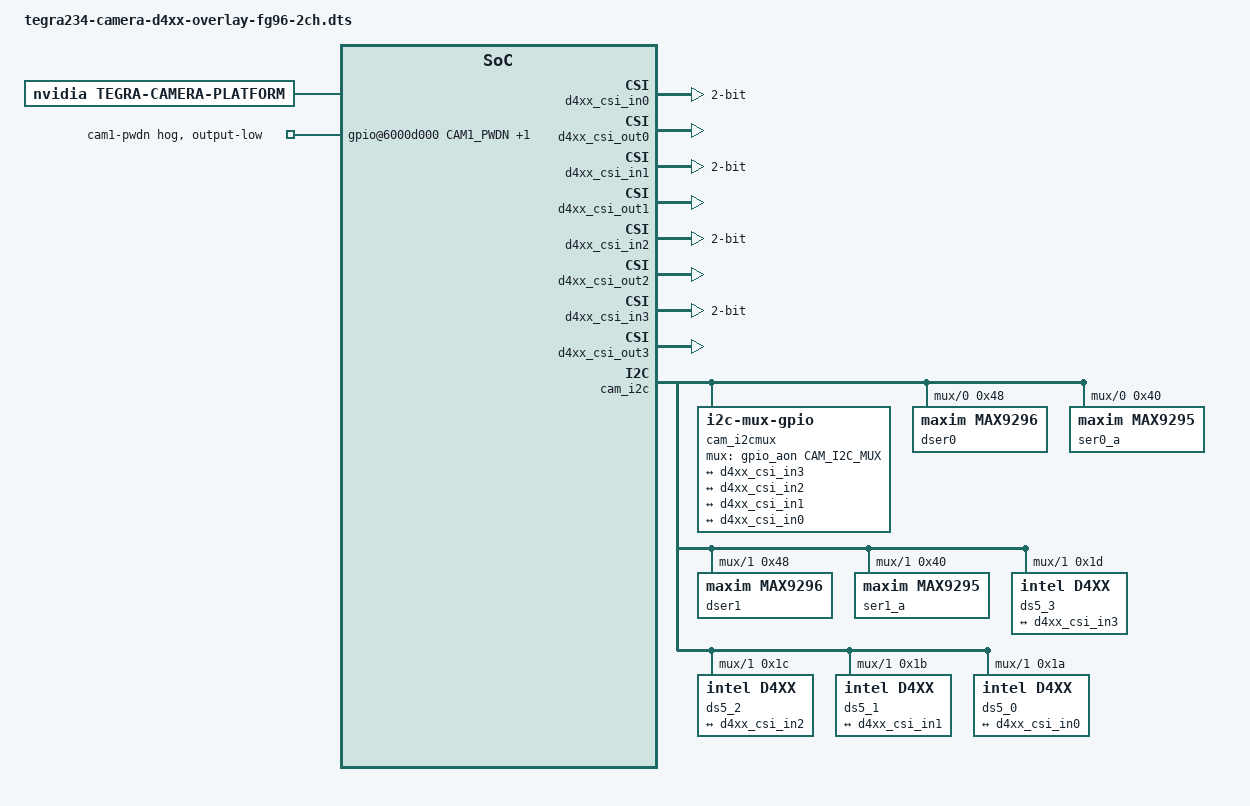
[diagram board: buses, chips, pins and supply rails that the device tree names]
// SPDX-License-Identifier: GPL-2.0-only
// SPDX-FileCopyrightText: Copyright (c) 2026, REALSENSEAI.  All rights reserved.

// URL: https://fg96-2ch-doc.readthedocs.io/

/dts-v1/;
/plugin/;

#include <dt-bindings/clock/tegra234-clock.h>
#include <dt-bindings/gpio/tegra234-gpio.h>
#include <dt-bindings/tegra234-p3767-0000-common.h>

#define CAM0_PWDN   TEGRA234_MAIN_GPIO(H, 6)
#define CAM1_PWDN   TEGRA234_MAIN_GPIO(AC, 0)
#define CAM_I2C_MUX TEGRA234_AON_GPIO(CC, 3)

// ds5 addr 0xn[abcd]

/* camera control gpio definitions */
/ {
	overlay-name = "Jetson RealSense Camera FG96-2CH SINGLE";
	jetson-header-name = "Jetson 22pin CSI Connector";
	compatible = JETSON_COMPATIBLE_P3768;

	fragment@0 {
		target-path = "/";
		__overlay__ {
			tegra-capture-vi {
				num-channels = <4>;
				ports {
					#address-cells = <1>;
					#size-cells = <0>;
					status = "okay";
					port@0 {
						status = "okay";
						reg = <0>;
						d4xx_vi_in0: endpoint {
							status = "okay";
							vc-id = <0>;
							port-index = <2>;
							bus-width = <2>;
							remote-endpoint = <&d4xx_csi_out0>;
						};
					};
					port@1 {
						status = "okay";
						reg = <1>;
						d4xx_vi_in1: endpoint {
							status = "okay";
							vc-id = <1>;
							port-index = <2>;
							bus-width = <2>;
							remote-endpoint = <&d4xx_csi_out1>;
						};
					};
					port@2 {
						status = "okay";
						reg = <2>;
						d4xx_vi_in2: endpoint {
							status = "okay";
							vc-id = <2>;
							port-index = <2>;
							bus-width = <2>;
							remote-endpoint = <&d4xx_csi_out2>;
						};
					};
					port@3 {
						status = "okay";
						reg = <3>;
						d4xx_vi_in3: endpoint {
							status = "okay";
							vc-id = <3>;
							port-index = <2>;
							bus-width = <2>;
							remote-endpoint = <&d4xx_csi_out3>;
						};
					};
				};
			};

			tegra-camera-platform {
				compatible = "nvidia, tegra-camera-platform";
				status = "okay";
				modules {
					#address-cells = <1>;
					#size-cells = <0>;
					status = "okay";
					module0 {
						status = "okay";
						badge = "d4xx_depth";
						position = "left";
						orientation = "1";
						drivernode0 {
							status = "okay";
							pcl_id = "v4l2_sensor";
							devname = "DS5 mux 9-001a";
							sysfs-device-tree = "/sys/firmware/devicetree/base/bus@0/cam_i2cmux/i2c@1/ds5@1a";
						};
					};
					module1 {
						status = "okay";
						badge = "d4xx_rgb";
						position = "left";
						orientation = "1";
						drivernode0 {
							status = "okay";
							pcl_id = "v4l2_sensor";
							devname = "DS5 mux 9-001b";
							sysfs-device-tree = "/sys/firmware/devicetree/base/bus@0/cam_i2cmux/i2c@1/ds5@1b";
						};
					};
					module2 {
						status = "okay";
						badge = "d4xx_y8";
						position = "left";
						orientation = "1";
						drivernode0 {
							status = "okay";
							pcl_id = "v4l2_sensor";
							devname = "DS5 mux 9-001c";
							sysfs-device-tree = "/sys/firmware/devicetree/base/bus@0/cam_i2cmux/i2c@1/ds5@1c";
						};
					};
					module3 {
						status = "okay";
						badge = "d4xx_imu";
						position = "left";
						orientation = "1";
						drivernode0 {
							status = "okay";
							pcl_id = "v4l2_sensor";
							devname = "DS5 mux 9-001d";
							sysfs-device-tree = "/sys/firmware/devicetree/base/bus@0/cam_i2cmux/i2c@1/ds5@1d";
						};
					};
				};
			};

			bus@0 {
				host1x@13e00000 {
					nvcsi@15a00000 {
						num-channels = <4>;
						channel@0 {
							status = "okay";
							reg = <0>;
							ports {
								#address-cells = <1>;
								#size-cells = <0>;
								status = "okay";
								port@0 {
									status = "okay";
									reg = <0>;
									d4xx_csi_in0: endpoint@0 {
										status = "okay";
										port-index = <2>;
										bus-width = <2>;
										remote-endpoint = <&ds5_0_out>;
									};
								};
								port@1 {
									status = "okay";
									reg = <1>;
									d4xx_csi_out0: endpoint@1 {
										status = "okay";
										remote-endpoint = <&d4xx_vi_in0>;
									};
								};
							};
						};
						channel@1 {
							status = "okay";
							reg = <1>;
							ports {
								#address-cells = <1>;
								#size-cells = <0>;
								status = "okay";
								port@0 {
									status = "okay";
									reg = <0>;
									d4xx_csi_in1: endpoint@2 {
										status = "okay";
										port-index = <2>;
										bus-width = <2>;
										remote-endpoint = <&ds5_1_out>;
									};
								};
								port@1 {
									status = "okay";
									reg = <1>;
									d4xx_csi_out1: endpoint@3 {
										status = "okay";
										remote-endpoint = <&d4xx_vi_in1>;
									};
								};
							};
						};
						channel@2 {
							status = "okay";
							reg = <2>;
							ports {
								#address-cells = <1>;
								#size-cells = <0>;
								status = "okay";
								port@0 {
									status = "okay";
									reg = <0>;
									d4xx_csi_in2: endpoint@4 {
										status = "okay";
										port-index = <2>;
										bus-width = <2>;
										remote-endpoint = <&ds5_2_out>;
									};
								};
								port@1 {
									status = "okay";
									reg = <1>;
									d4xx_csi_out2: endpoint@5 {
										status = "okay";
										remote-endpoint = <&d4xx_vi_in2>;
									};
								};
							};
						};
						channel@3 {
							status = "okay";
							reg = <3>;
							ports {
								#address-cells = <1>;
								#size-cells = <0>;
								status = "okay";
								port@0 {
									status = "okay";
									reg = <0>;
									d4xx_csi_in3: endpoint@6 {
										status = "okay";
										port-index = <2>;
										bus-width = <2>;
										remote-endpoint = <&ds5_3_out>;
									};
								};
								port@1 {
									status = "okay";
									reg = <1>;
									d4xx_csi_out3: endpoint@7 {
										status = "okay";
										remote-endpoint = <&d4xx_vi_in3>;
									};
								};
							};
						};
					};
				};

				gpio@6000d000 {
					camera-control-output-low {
						gpio-hog;
						output-low;
						gpios = <CAM1_PWDN 0  CAM0_PWDN 0>;
						label = "cam1-pwdn", "cam0-pwdn";
					};
				};


				cam_i2cmux {
					status = "okay";
					compatible = "i2c-mux-gpio";
					#address-cells = <1>;
					#size-cells = <0>;
					mux-gpios = <&gpio_aon CAM_I2C_MUX GPIO_ACTIVE_HIGH>;
					i2c-parent = <&cam_i2c>;
					//clock-frequency = <100000>;

					i2c@0 {
						status = "okay";
						reg = <0>;
						#address-cells = <1>;
						#size-cells = <0>;
						
						dser0: max9296@48 {
							status = "okay";
							reg = <0x48>;
							compatible = "maxim,max9296";
							csi-mode = "2x4";
							max-src = <1>;
							fangzhu,fg96-2ch-enable;
						};
						ser0_a: max9295_a@40 {
							compatible = "maxim,max9295";
							reg = <0x40>;
							maxim,gmsl-dser-device = <&dser0>;
						};
					};

					i2c@1 {
						status = "okay";
						reg = <1>;
						#address-cells = <1>;
						#size-cells = <0>;
						
						dser1: max9296@48 {
							status = "okay";
							reg = <0x48>;
							compatible = "maxim,max9296";
							csi-mode = "2x4";
							max-src = <1>;
							fg96-2ch;
						};
						ser1_a: max9295_a@40 {
							compatible = "maxim,max9295";
							reg = <0x40>;
							maxim,gmsl-dser-device = <&dser1>;
						};

						ds5_3: ds5@1d {
							status = "okay";
							def-addr = <0x10>;
							reg = <0x1d>;
							override_reg = <0x1a>;
							compatible = "intel,d4xx";
							use_sensor_mode_id = "true";
							cam-type = "IMU";
							nvidia,gmsl-ser-device = <&ser1_a>;
							nvidia,gmsl-dser-device = <&dser1>;
							ports {
								#address-cells = <1>;
								#size-cells = <0>;
								port@0 {
									reg = <0>;
									ds5_3_out: endpoint {
										vc-id = <3>;
										port-index = <2>;
										bus-width = <2>;
										remote-endpoint = <&d4xx_csi_in3>;
									};
								};
							};
							mode0 {
								pixel_t = "grey_y16";
								num_lanes = "2";
								csi_pixel_bit_depth = "16";
								active_w = "640";
								active_h = "480";
								tegra_sinterface = "serial_c";
								mclk_khz = "24000";
								pix_clk_hz = "74250000";
								line_length = "1280"; /* 2200 */
								embedded_metadata_height = "0";
							};
							gmsl-link {
								src-csi-port = "b";
								dst-csi-port = "a";
								serdes-csi-link = "a";
								csi-mode = "1x4";
								st-vc = <0>;
								vc-id = <3>;
								num-lanes = <2>;
							};
						};

						ds5_2: ds5@1c {
							status = "okay";
							def-addr = <0x10>;
							reg = <0x1c>;
							override_reg = <0x1a>;
							compatible = "intel,d4xx";
							use_sensor_mode_id = "true";
							cam-type = "Y8";
							nvidia,gmsl-ser-device = <&ser1_a>;
							nvidia,gmsl-dser-device = <&dser1>;
							ports {
								#address-cells = <1>;
								#size-cells = <0>;
								port@0 {
									reg = <0>;
									ds5_2_out: endpoint {
										vc-id = <2>;
										port-index = <2>;
										bus-width = <2>;
										remote-endpoint = <&d4xx_csi_in2>;
									};
								};
							};
							/* mode0: Y8, mode1: depth D16 */
							mode0 {
								pixel_t = "grey_y16";
								num_lanes = "2";
								csi_pixel_bit_depth = "16";
								active_w = "1280";
								active_h = "720";
								tegra_sinterface = "serial_c";
								mclk_khz = "24000";
								pix_clk_hz = "74250000";
								line_length = "1280"; /* 2200 */
								embedded_metadata_height = "1";
							};
							gmsl-link {
								src-csi-port = "b";
								dst-csi-port = "a";
								serdes-csi-link = "a";
								csi-mode = "1x4";
								st-vc = <0>;
								vc-id = <2>;
								num-lanes = <2>;
							};
						};

						ds5_1: ds5@1b {
							status = "okay";
							def-addr = <0x10>;
							reg = <0x1b>;
							override_reg = <0x1a>;
							compatible = "intel,d4xx";
							use_sensor_mode_id = "true";
							cam-type = "RGB";
							nvidia,gmsl-ser-device = <&ser1_a>;
							nvidia,gmsl-dser-device = <&dser1>;
							ports {
								#address-cells = <1>;
								#size-cells = <0>;
								port@0 {
									reg = <0>;
									ds5_1_out: endpoint {
										vc-id = <1>;
										port-index = <2>;
										bus-width = <2>;
										remote-endpoint = <&d4xx_csi_in1>;
									};
								};
							};
							mode0 {
								pixel_t = "grey_y16";
								num_lanes = "2";
								csi_pixel_bit_depth = "16";
								active_w = "1920";
								active_h = "1080";
								tegra_sinterface = "serial_c";
								mclk_khz = "24000";
								pix_clk_hz = "74250000";
								line_length = "1280"; /* 2200 */
								embedded_metadata_height = "1";
							};
							gmsl-link {
								src-csi-port = "b";
								dst-csi-port = "a";
								serdes-csi-link = "a";
								csi-mode = "1x4";
								st-vc = <0>;
								vc-id = <1>;
								num-lanes = <2>;
							};
						};

						ds5_0: ds5@1a {
							status = "okay";
							def-addr = <0x10>;
							reg = <0x1a>;
							compatible = "intel,d4xx";
							use_sensor_mode_id = "true";
							cam-type = "Depth";
							nvidia,gmsl-ser-device = <&ser1_a>;
							nvidia,gmsl-dser-device = <&dser1>;
							ports {
								#address-cells = <1>;
								#size-cells = <0>;
								port@0 {
									status = "okay";
									reg = <0>;
									ds5_0_out: endpoint {
										vc-id = <0>;
										port-index = <2>;
										bus-width = <2>;
										remote-endpoint = <&d4xx_csi_in0>;
									};
								};
							};
							mode0 {
								pixel_t = "grey_y16";
								num_lanes = "2";
								csi_pixel_bit_depth = "16";
								active_w = "1280";
								active_h = "720";
								tegra_sinterface = "serial_c";
								mclk_khz = "24000";
								pix_clk_hz = "74250000";
								line_length = "1280"; /* 2200 */
								embedded_metadata_height = "1";
							};
							gmsl-link {
								src-csi-port = "b";
								dst-csi-port = "a";
								serdes-csi-link = "a";
								csi-mode = "1x4";
								st-vc = <0>;
								vc-id = <0>;
								num-lanes = <2>;
							};
						};
					};
				};

			};
		};
	};
};
